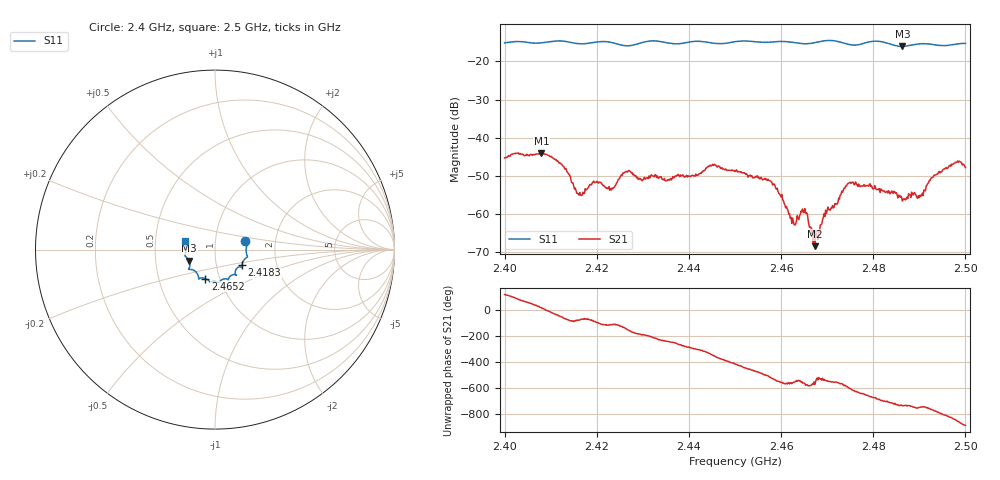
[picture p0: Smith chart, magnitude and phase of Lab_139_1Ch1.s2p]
# Hz S RI R 50
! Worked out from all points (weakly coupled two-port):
!   601 points, 2.4 GHz to 2.5 GHz, reference 50 ohm
!   highest |S21| = -43.98 dB at 2.408 GHz (marker M1); lowest = -68.4 dB at 2.4673 GHz (marker M2)
!   lowest |S11| = -16.1 dB at 2.4863 GHz (marker M3), VSWR 1.37, Z = 37.2 - j4.74 ohm
!   |S11| at or under -10 dB: start of sweep to end of sweep
!   S12 and S22 are empty: the file has one direction only
!   S11 on the Smith chart (normalised r, x): 2.4 GHz: 1.40, +0.14; 2.4183 GHz: 1.33, -0.24; 2.4652 GHz: 0.85, -0.28; 2.5 GHz: 0.71, +0.07
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2.4e9  0.1681 0.0472  -0.00233 0.0049  0 0  0 0
2.408e9  0.1742 -0.0151  0.00611 0.00162  0 0  0 0
2.4125e9  0.1799 -0.0421  0.00239 -0.0037  0 0  0 0
2.416667e9  0.1556 -0.0678  0.000526 -0.00167  0 0  0 0
2.418333e9  0.1502 -0.0864  0.000606 -0.00226  0 0  0 0
2.423333e9  0.1472 -0.0968  -0.000924 -0.00198  0 0  0 0
2.426667e9  0.121 -0.1047  -0.00316 -0.00158  0 0  0 0
2.433333e9  0.1171 -0.1415  -0.002 0.00215  0 0  0 0
2.445167e9  0.061 -0.1627  0.00434 0.00105  0 0  0 0
2.45e9  0.0257 -0.1794  0.00211 -0.00291  0 0  0 0
2.458e9  -0.0163 -0.1785  -0.00249 -0.000758  0 0  0 0
2.462833e9  -0.0356 -0.1727  -0.000702 0.000169  0 0  0 0
2.465167e9  -0.0545 -0.1613  -0.00107 0.000491  0 0  0 0
2.466667e9  -0.0705 -0.1577  -0.000441 0.000287  0 0  0 0
2.467333e9  -0.0773 -0.1581  -0.000325 0.000194  0 0  0 0
2.4745e9  -0.0979 -0.1364  -0.00154 0.00198  0 0  0 0
2.483333e9  -0.1416 -0.0966  0.00195 0.000509  0 0  0 0
2.486333e9  -0.1439 -0.0622  0.00144 -0.000339  0 0  0 0
2.49e9  -0.1655 -0.0368  0.00147 -0.000741  0 0  0 0
2.493e9  -0.165 -0.0198  0.00208 -0.00223  0 0  0 0
2.497833e9  -0.1643 0.0341  -0.00234 -0.00414  0 0  0 0
2.5e9  -0.1655 0.0474  -0.0039 -0.00111  0 0  0 0
